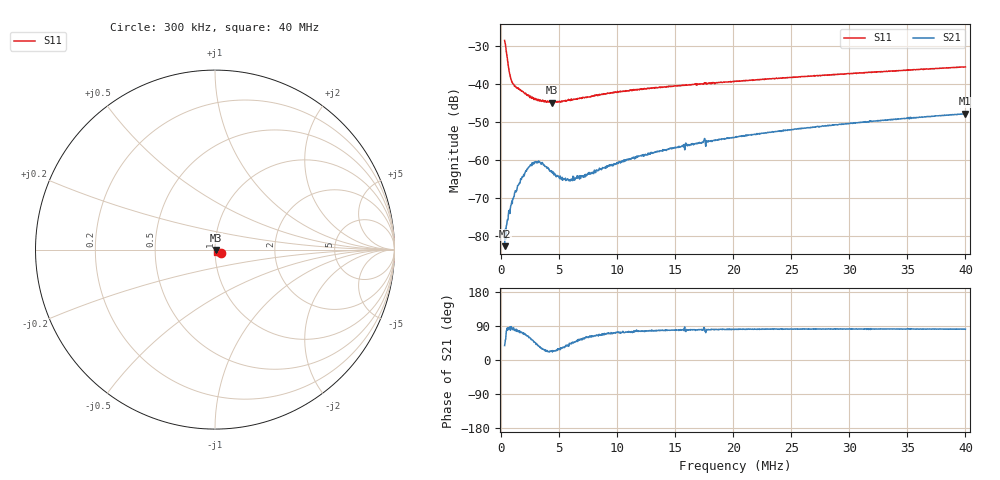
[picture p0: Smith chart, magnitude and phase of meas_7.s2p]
# HZ S RI R 50
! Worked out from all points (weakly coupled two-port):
!   1206 points, 300 kHz to 40 MHz, reference 50 ohm
!   highest |S21| = -47.77 dB at 39.97 MHz (marker M1); lowest = -82.6 dB at 300 kHz (marker M2)
!   lowest |S11| = -44.9 dB at 4.385 MHz (marker M3), VSWR 1.01, Z = 50.5 - j0.211 ohm
!   |S11| at or under -10 dB: start of sweep to end of sweep
!   S12 and S22 are empty: the file has one direction only
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300000  0.0307 -0.0215  5.81e-05 4.55e-05  0 0  0 0
431784  0.0183 -0.021  4.19e-05 0.000126  0 0  0 0
761244  0.0069 -0.0112  7.96e-06 0.000199  0 0  0 0
991866  0.00651 -0.00781  4.66e-05 0.000305  0 0  0 0
1189542  0.00674 -0.00646  8.18e-05 0.000368  0 0  0 0
1617840  0.00653 -0.00539  0.000155 0.000474  0 0  0 0
2342652  0.00567 -0.0042  0.000363 0.000714  0 0  0 0
2738004  0.0056 -0.00341  0.000556 0.000703  0 0  0 0
3133356  0.00533 -0.00291  0.000699 0.000606  0 0  0 0
3429870  0.00535 -0.00271  0.000768 0.000473  0 0  0 0
4385304  0.00527 -0.00209  0.000654 0.000287  0 0  0 0
5143062  0.00559 -0.00168  0.000522 0.000289  0 0  0 0
5769036  0.00593 -0.00157  0.000448 0.000327  0 0  0 0
6922146  0.00632 -0.00134  0.000346 0.000507  0 0  0 0
1.034853e7  0.00766 -0.00235  0.000287 0.000906  0 0  0 0
1.354429e7  0.00818 -0.0037  0.000254 0.00128  0 0  0 0
1.736603e7  0.00844 -0.00536  0.000316 0.00169  0 0  0 0
2.016644e7  0.00867 -0.00658  0.000315 0.00197  0 0  0 0
2.678858e7  0.00889 -0.00916  0.000384 0.00267  0 0  0 0
3.341073e7  0.00907 -0.0118  0.000481 0.00336  0 0  0 0
3.996698e7  0.00905 -0.0141  0.000596 0.00404  0 0  0 0
3.999993e7  0.00901 -0.0142  0.000616 0.00402  0 0  0 0
